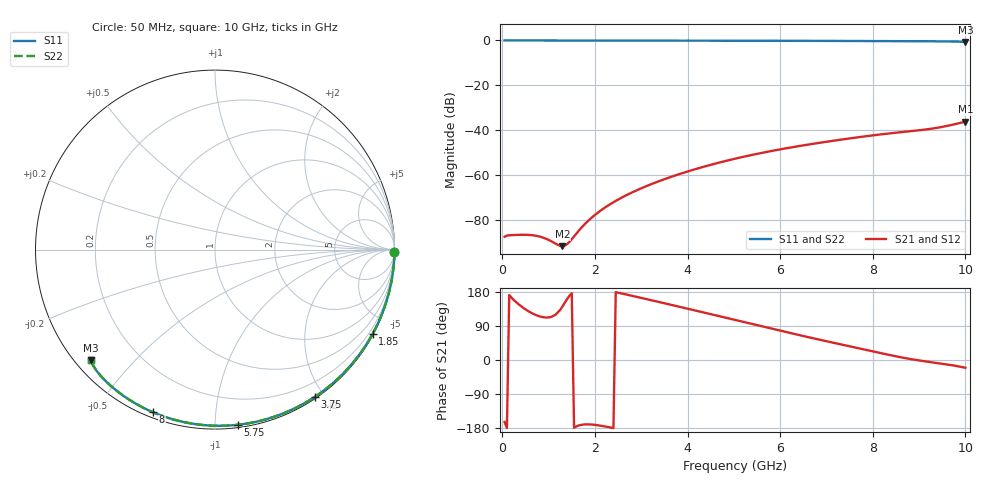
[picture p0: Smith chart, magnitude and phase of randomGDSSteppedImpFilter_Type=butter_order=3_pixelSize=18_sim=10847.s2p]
! freq	dB(S11)	phase(S11)	dB(S12)	phase(S12)
!  dB(S21)	phase(S21)	dB(S22)	phase(S22)
!S-par simulation data
#  GHz  S  DB  R 50
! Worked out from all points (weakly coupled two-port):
!   200 points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, 50 MHz to 10 GHz, reference 50 ohm
!   highest |S21| = -36.20 dB at 10 GHz (marker M1); lowest = -91.8 dB at 1.3 GHz (marker M2)
!   lowest |S11| = -0.7 dB at 10 GHz (marker M3), VSWR 26.57, Z = 2.15 - j19 ohm
!   |S11| at or under -10 dB: nowhere
!   |S22| runs from -0.7 to 0.0 dB; largest |S21 - S12| = 0
!   S11 on the Smith chart (normalised r, x): 50 MHz: open; 1.85 GHz: 0.03, -3.99; 3.75 GHz: 0.02, -1.89; 5.75 GHz: 0.02, -1.14; 8 GHz: 0.02, -0.69; 10 GHz: 0.04, -0.38
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0.05  -0.00 -0.8  -87.58 -163.5  -87.58 -163.5  -0.00 -0.8
0.65  -0.01 -10.0  -86.91 122.9  -86.91 122.9  -0.01 -10.0
1.3  -0.02 -19.9  -91.80 141.3  -91.80 141.3  -0.02 -19.9
1.75  -0.03 -26.7  -82.63 -170.3  -82.63 -170.3  -0.03 -26.7
1.85  -0.04 -28.2  -80.57 -169.8  -80.57 -169.8  -0.04 -28.2
1.9  -0.04 -28.9  -79.62 -170.0  -79.62 -170.0  -0.04 -28.9
2.05  -0.04 -31.1  -77.05 -171.9  -77.05 -171.9  -0.04 -31.1
2.25  -0.04 -34.1  -74.11 -176.1  -74.11 -176.1  -0.04 -34.1
2.55  -0.05 -38.5  -70.44 176.3  -70.44 176.3  -0.05 -38.5
2.95  -0.06 -44.3  -66.42 165.3  -66.42 165.3  -0.06 -44.3
3.4  -0.07 -50.8  -62.67 152.6  -62.67 152.6  -0.07 -50.8
3.75  -0.08 -55.7  -60.14 142.6  -60.14 142.6  -0.08 -55.7
4.35  -0.09 -64.0  -56.35 125.4  -56.35 125.4  -0.09 -64.0
5.05  -0.11 -73.5  -52.65 104.9  -52.65 104.9  -0.11 -73.5
5.75  -0.14 -82.7  -49.57 84.5  -49.57 84.5  -0.14 -82.7
6.7  -0.18 -94.8  -46.15 57.7  -46.15 57.7  -0.18 -94.8
7.35  -0.22 -102.8  -44.15 40.1  -44.15 40.1  -0.22 -102.8
8  -0.26 -110.8  -42.35 22.7  -42.35 22.7  -0.26 -110.8
8.35  -0.29 -115.0  -41.50 13.5  -41.50 13.5  -0.29 -115.0
9.3  -0.39 -126.9  -39.28 -6.4  -39.28 -6.4  -0.39 -126.9
9.75  -0.48 -133.4  -37.49 -14.5  -37.49 -14.5  -0.48 -133.4
10  -0.65 -138.4  -36.20 -20.6  -36.20 -20.6  -0.66 -138.4
